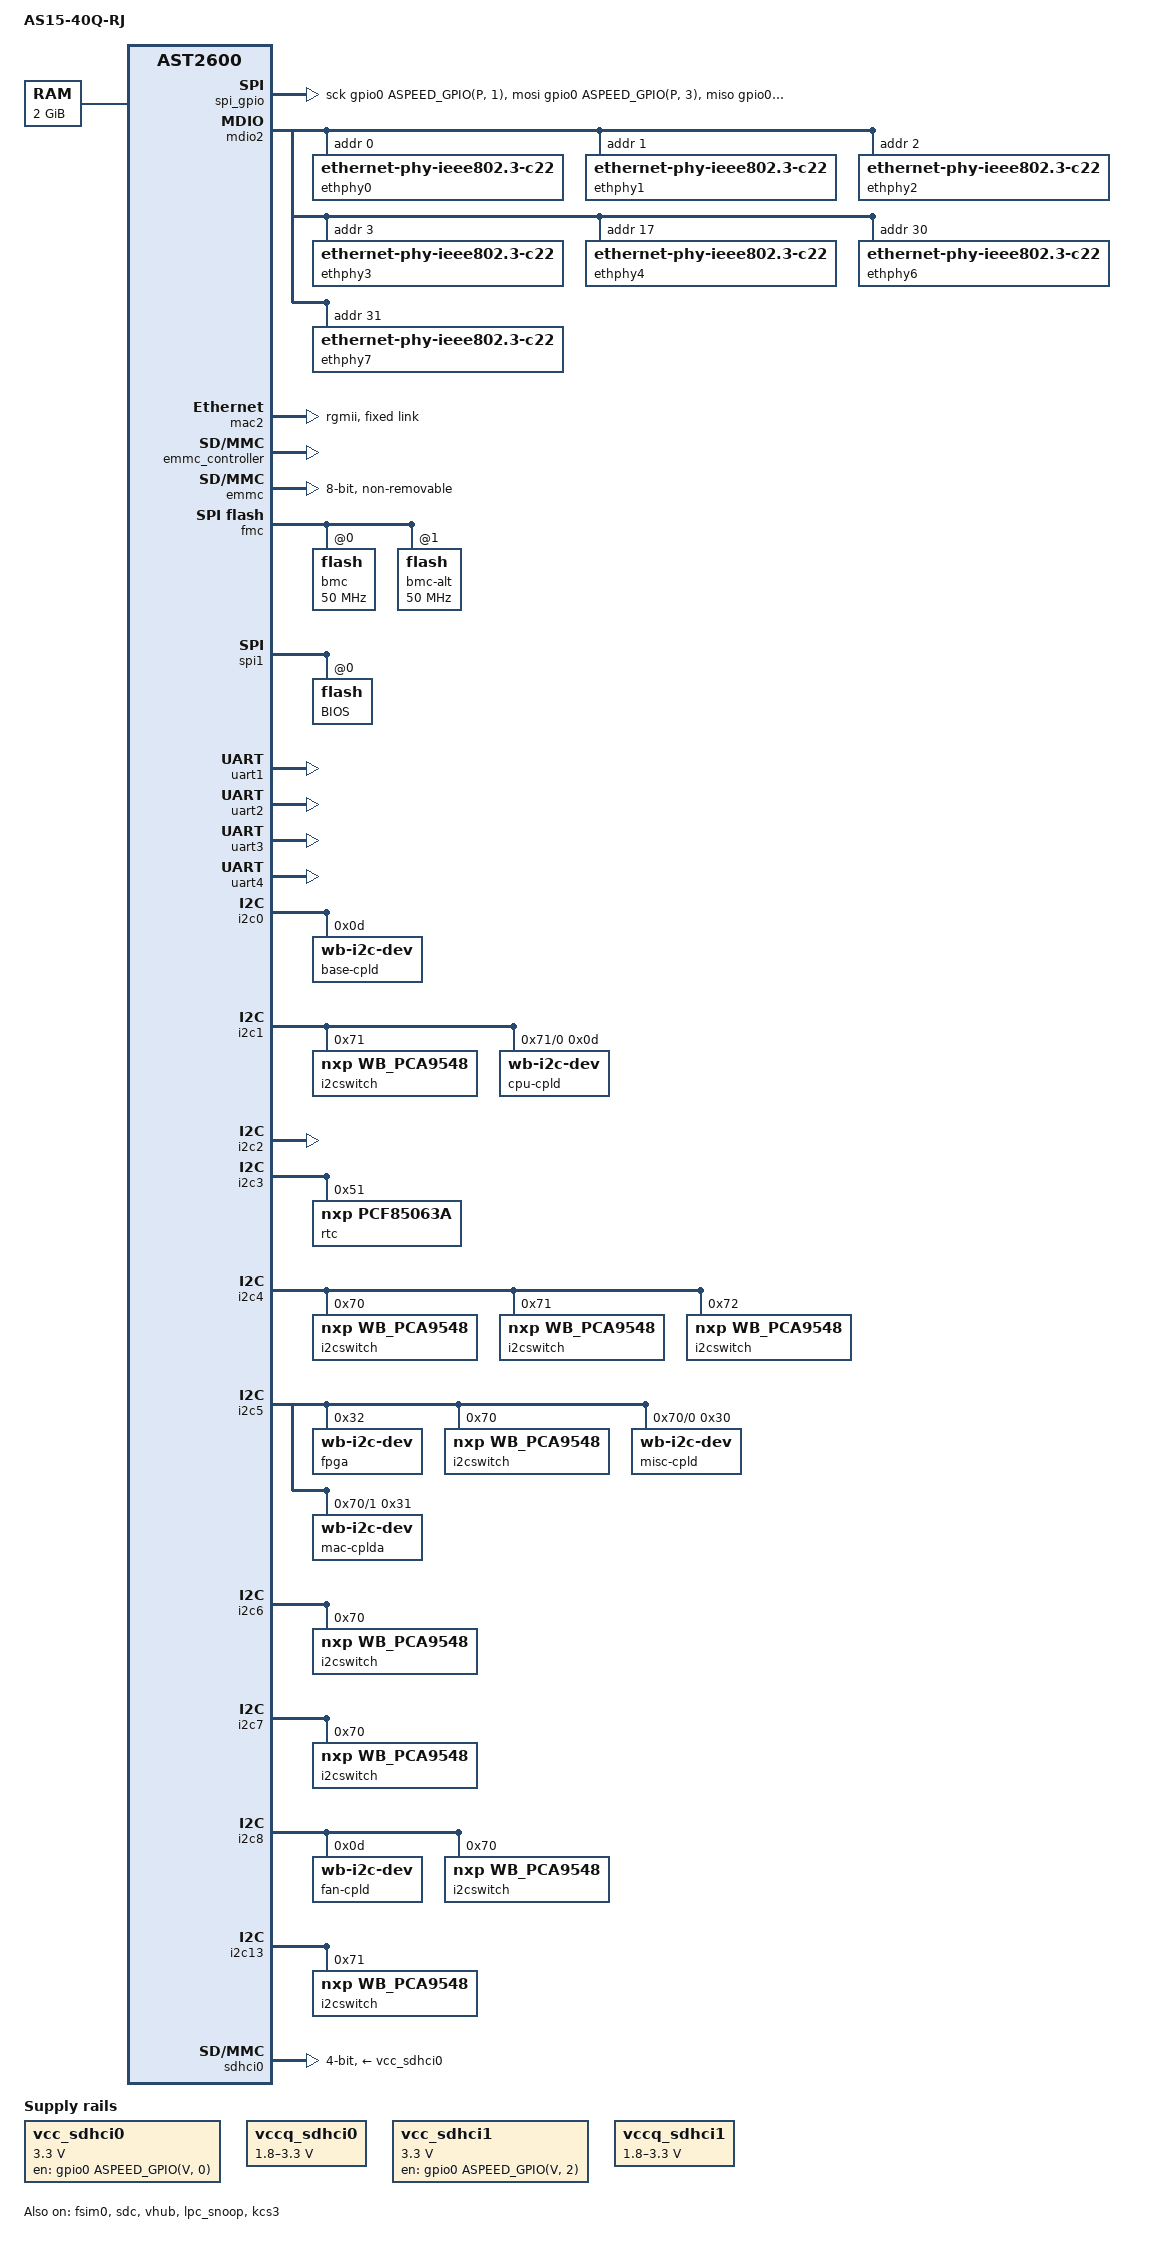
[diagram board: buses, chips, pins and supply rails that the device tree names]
// SPDX-License-Identifier: GPL-2.0-or-later
// Copyright 2019 IBM Corp.

/dts-v1/;

#include "aspeed-g6.dtsi"
#include <dt-bindings/gpio/aspeed-gpio.h>

/ {
    model = "AS15-40Q-RJ";
    compatible = "aspeed,ast2600";

    aliases {
        serial4 = &uart5;
    };

    chosen {
        bootargs = "console=ttyS4,9600n8";
    };

    memory@80000000 {
        device_type = "memory";
        reg = <0x80000000 0x80000000>;
    };

    vcc_sdhci0: regulator-vcc-sdhci0 {
        compatible = "regulator-fixed";
        regulator-name = "SDHCI0 Vcc";
        regulator-min-microvolt = <3300000>;
        regulator-max-microvolt = <3300000>;
        gpios = <&gpio0 ASPEED_GPIO(V, 0) GPIO_ACTIVE_HIGH>;
        enable-active-high;
    };

    vccq_sdhci0: regulator-vccq-sdhci0 {
        compatible = "regulator-gpio";
        regulator-name = "SDHCI0 VccQ";
        regulator-min-microvolt = <1800000>;
        regulator-max-microvolt = <3300000>;
        gpios = <&gpio0 ASPEED_GPIO(V, 1) GPIO_ACTIVE_HIGH>;
        gpios-states = <1>;
        states = <3300000 1>,<1800000 0>;
    };

    vcc_sdhci1: regulator-vcc-sdhci1 {
        compatible = "regulator-fixed";
        regulator-name = "SDHCI1 Vcc";
        regulator-min-microvolt = <3300000>;
        regulator-max-microvolt = <3300000>;
        gpios = <&gpio0 ASPEED_GPIO(V, 2) GPIO_ACTIVE_HIGH>;
        enable-active-high;
    };

    vccq_sdhci1: regulator-vccq-sdhci1 {
        compatible = "regulator-gpio";
        regulator-name = "SDHCI1 VccQ";
        regulator-min-microvolt = <1800000>;
        regulator-max-microvolt = <3300000>;
        gpios = <&gpio0 ASPEED_GPIO(V, 3) GPIO_ACTIVE_HIGH>;
        gpios-states = <1>;
        states = <3300000 1>,<1800000 0>;
    };

    peci: peci@1e78b000 {
        compatible = "aspeed,ast2600-peci";
        reg = <0x1e78b000 0x100>;
        interrupts = <GIC_SPI 38 IRQ_TYPE_LEVEL_HIGH>;
    };

    spi_gpio {
        compatible = "spi-gpio";
        status = "okay";
        #address-cells = <1>;
        #size-cells = <0>;
        num-chipselects = <2>;

        gpio-sck = <&gpio0 ASPEED_GPIO(P, 1) 0>;
        gpio-mosi = <&gpio0 ASPEED_GPIO(P, 3) 0>;
        gpio-miso = <&gpio0 ASPEED_GPIO(P, 2) 0>;
        cs-gpios = <
            &gpio0 ASPEED_GPIO(P, 4) 0
            &gpio0 ASPEED_GPIO(Q, 7) 1
        >;

    };

    /* CPU_CPLD */
    firmware_cpld0 {
        compatible  = "firmware_cpld_ispvme";
        type        = "JTAG";
        tck      = <882>;
        tdi      = <881>;
        tms      = <883>;
        tdo      = <884>;
        en_gpio_0  = <885>;
        en_level_0 = <1>;
        en_logic_dev_0 = "/dev/cpld1";
        en_logic_addr_0 = <0xf3>;
        en_logic_mask_0 = <0x00>;
        en_logic_en_val_0 = <0xfe>;
        en_logic_dis_val_0 = <0xff>;
        en_logic_width_0 = <1>;
        chain       = <1>;
        chip_index  = <1>;
    };

    /* BASE_CPLD */
    firmware_cpld1 {
        compatible  = "firmware_cpld_ispvme";
        type        = "JTAG";
        tck      = <882>;
        tdi      = <881>;
        tms      = <883>;
        tdo      = <884>;
        en_gpio_0  = <886>;
        en_level_0 = <1>;
        en_gpio_1  = <885>;
        en_level_1 = <1>;
        chain       = <2>;
        chip_index  = <1>;
    };

    /* MAC CPLDA */
    firmware_cpld2 {
        compatible  = "firmware_cpld_ispvme";
        type        = "JTAG";
        tck      = <882>;
        tdi      = <881>;
        tms      = <883>;
        tdo      = <884>;
        en_gpio_0  = <885>;
        en_level_0 = <1>;
        en_logic_dev_0 = "/dev/cpld1";
        en_logic_addr_0 = <0xf3>;
        en_logic_mask_0 = <0x00>;
        en_logic_en_val_0 = <0xeb>;
        en_logic_dis_val_0 = <0xff>;
        en_logic_width_0 = <1>;
        chain       = <3>;
        chip_index  = <1>;
    };

    /* FCB CPLD */
    firmware_cpld3 {
        compatible  = "firmware_cpld_ispvme";
        type        = "JTAG";
        tck      = <882>;
        tdi      = <881>;
        tms      = <883>;
        tdo      = <884>;
        en_gpio_0  = <885>;
        en_level_0 = <1>;
        en_logic_dev_0 = "/dev/cpld1";
        en_logic_addr_0 = <0xf3>;
        en_logic_mask_0 = <0x00>;
        en_logic_en_val_0 = <0xfd>;
        en_logic_dis_val_0 = <0xff>;
        en_logic_width_0 = <1>;
        chain       = <4>;
        chip_index  = <1>;
    };

    /* MISC CPLD */
    firmware_cpld4 {
        compatible  = "firmware_cpld_ispvme";
        type        = "JTAG";
        tck      = <882>;
        tdi      = <881>;
        tms      = <883>;
        tdo      = <884>;
        en_gpio_0  = <885>;
        en_level_0 = <1>;
        en_logic_dev_0 = "/dev/cpld1";
        en_logic_addr_0 = <0xf3>;
        en_logic_mask_0 = <0x00>;
        en_logic_en_val_0 = <0xfb>;
        en_logic_dis_val_0 = <0xff>;
        en_logic_width_0 = <1>;
        chain       = <5>;
        chip_index  = <1>;
    };

    /* 53134 Upgrading a link */
    firmware_bcm53134 {
        compatible  = "firmware_sysfs";
        type        = "SYSFS";
        chain       = <1>;
        chip_index  = <1>;
        sysfs_name  = "/sys/bus/spi/devices/spi0.0/eeprom";
        en_gpio_0   = <941>;    /* GPION5 Enable online upgrade of BCM53134O */
        en_level_0  = <0>;
    };
    
    /* FPGA Upgrading a link */
    firmware_fpga0_up {
        compatible  = "firmware_sysfs";
        type        = "MTD_DEV";
        chain       = <2>;
        chip_index  = <1>;
        mtd_name    = "spi0.1";
        flash_base  = <0x200000>;
        test_base   = <0x7F0000>;
        test_size   = <0x10000>;
    };
    
    /* FPGA Upgrade the link chip */
    firmware_fpga0_shaopian {
        compatible  = "firmware_sysfs";
        type        = "MTD_DEV";
        chain       = <3>;
        chip_index  = <1>;
        mtd_name    = "spi0.1";
        flash_base  = <0x0>;
        test_base   = <0x7F0000>;
        test_size   = <0x10000>;
    };

    /* BIOS Upgrading a link */
    firmware_bios {
        compatible  = "firmware_sysfs";
        type        = "MTD_DEV";
        chain       = <4>;
        chip_index  = <1>;
        mtd_name    = "BIOS";
        flash_base  = <0x0>;
    };

    /* MAC flash Upgrading a link */
    firmware_mac {
        compatible  = "firmware_sysfs";
        type        = "MTD_DEV";
        chain       = <5>;
        chip_index  = <1>;
        mtd_name    = "spi0.1";
        flash_base  = <0>;
    };


    wb_mmc_resume@0 {
        compatible = "dev_resume_drv";
        dev_type   = <1>;                             /* 1: MMC; 2: SSD */
        slot_id    = <0>;                             /* emmc controller0 */
        bit_mask   = <0x01>;
        reg_intf_name   = "mmc_resume_register";
        unreg_intf_name = "mmc_resume_unregister";

        resume_way0 {
            resume_way    = <3>;                     /* way3 DEV_RESUME_WAY2_CTL_GPIO */
            gpio_num      = <986>;
            active_level  = <0>;
            reset_delay   = <80000>;
            dereset_delay = <5000>;
        };
    };


};

&mdio0 {
    status = "disabled";
};

&mdio1 {
    status = "disabled";
};

&mdio2 {
    status = "okay";

    ethphy0: ethernet-phy@0 {
        compatible = "ethernet-phy-ieee802.3-c22";
        reg = <0>;
    };
    ethphy1: ethernet-phy@1 {
        compatible = "ethernet-phy-ieee802.3-c22";
        reg = <1>;
    };
    ethphy2: ethernet-phy@2 {
        compatible = "ethernet-phy-ieee802.3-c22";
        reg = <2>;
    };
    ethphy3: ethernet-phy@3 {
        compatible = "ethernet-phy-ieee802.3-c22";
        reg = <3>;
    };
    ethphy4: ethernet-phy@4 {
        compatible = "ethernet-phy-ieee802.3-c22";
        reg = <0x11>;
    };
    ethphy6: ethernet-phy@6 {
        compatible = "ethernet-phy-ieee802.3-c22";
        reg = <0x1e>;
    };
    ethphy7: ethernet-phy@7 {
        compatible = "ethernet-phy-ieee802.3-c22";
        reg = <0x1f>;
    };
};

&mdio3 {
    status = "disabled";
};

&mac0 {
    status = "disabled";
};

&mac1 {
    status = "disabled";
};

&mac2 {
    status = "okay";
    pinctrl-names = "default";
    pinctrl-0 = <&pinctrl_rgmii3_default>;
    phy-handle;
    phy-mode = "rgmii";
    fixed-link {
        speed = <1000>;
        full-duplex;
    };
};

&mac3 {
    status = "disabled";
};

&emmc_controller {
    status = "okay";
};

&emmc {
	bus-width = <8>;
	pinctrl-0 = <&pinctrl_emmcg8_default>;
 	non-removable;
	no-sd;
	no-sdio;
 	max-frequency = <50000000>;
	clk-phase-mmc-hs200 = <0 27>, <1 185>;
	cap-mmc-hw-reset;
    reset_gpio = <794>; /* reset emmc gpio GPIOB6*/
	reset_on = <0>;
	reset_off = <1>;
    status = "okay";
 };

&fmc {
    status = "okay";
    flash@0 {
    status = "okay";
        m25p,fast-read;
        label = "bmc";
        spi-max-frequency = <50000000>;
#include "facebook-bmc-g6-flash-layout-64.dtsi"
    };
    flash@1 {
        status = "okay";
        m25p,fast-read;
        label = "bmc-alt";
        spi-max-frequency = <50000000>;
#include "facebook-bmc-g6-alt-flash-layout-64.dtsi"
    };
};

&spi1 {
    status = "okay";
    fmc-spi-user-mode;
    pinctrl-names = "default";
    pinctrl-0 = <&pinctrl_spi1_default>;

    flash@0 {
        status = "okay";
        label = "BIOS";
        m25p,fast-read;
    };
};


&uart1 {
    status = "okay";
};

&uart2 {
    status = "okay";
};

&uart3 {
    status = "okay";
};

&uart4 {
    status = "okay";
};

&uart5 {
	// Workaround for A0
	compatible = "snps,dw-apb-uart";
};

&i2c0 {
    status = "okay";
    bus-frequency = <90000>;
    base-cpld@0d {
        compatible = "wb-i2c-dev";
        reg = <0x0d>;
        i2c_name = "cpld1";
        data_bus_width = <1>;
        addr_bus_width = <1>;
        per_rd_len = <256>;
        per_wr_len = <256>;
        i2c_len = <0x100>;
    };
};

&i2c1 {
    status = "okay";
    i2cswitch@71 {
        compatible = "nxp,wb_pca9548";
        reg = <0x71>;
        probe_disable;
        pca9548_base_nr = <16>;
        status = "okay";
        pca9548_reset_type  = <1>;      /* 1:I2C 2:GPIO 3:IO 4:FILE */
        rst_delay_b = <0>;              /* delay time before reset(us) */
        rst_delay   = <1000>;           /* reset time(us) */
        rst_delay_a = <1000>;           /* delay time after reset(us) */
        i2c_bus = <0>;
        i2c_addr = <0x0d>;
        reg_offset = <0x31>;
        mask = <0x04>;
        reset_on = <0x00>;
        reset_off = <0x04>;
        i2c@0 {
            reg = <0>;
            cpu-cpld@0d {
                compatible = "wb-i2c-dev";
                reg = <0x0d>;
                i2c_name = "cpld0";
                data_bus_width = <1>;
                addr_bus_width = <1>;
                per_rd_len = <256>;
                per_wr_len = <256>;
                i2c_len = <0x100>;
            };
        };
    };
};

&i2c2 {
    status = "okay";
};

&i2c3 {
    status = "okay";
    rtc@51 {
        compatible = "nxp,pcf85063a";
        reg = <0x51>;
        status = "okay";
        cap-mode = /bits/ 8 <0x00>;
        clock-freq = /bits/ 8 <0x07>;
        accuracy-value = /bits/ 8 <0x09>;
    };
};

&i2c4 {
    status = "okay";
    i2cswitch@70 {
        compatible = "nxp,wb_pca9548";
        reg = <0x70>;
        probe_disable;
        pca9548_base_nr = <24>;
        status = "okay";
        pca9548_reset_type  = <1>;      /* 1:I2C 2:GPIO 3:IO 4:FILE */
        rst_delay_b = <0>;              /* delay time before reset(us) */
        rst_delay   = <1000>;           /* reset time(us) */
        rst_delay_a = <1000>;           /* delay time after reset(us) */
        i2c_bus = <0>;
        i2c_addr = <0x0d>;
        reg_offset = <0x31>;
        mask = <0x01>;
        reset_on = <0x00>;
        reset_off = <0x01>;
    };
    i2cswitch@71 {
        compatible = "nxp,wb_pca9548";
        reg = <0x71>;
        probe_disable;
        pca9548_base_nr = <32>;
        status = "okay";
        pca9548_reset_type  = <1>;      /* 1:I2C 2:GPIO 3:IO 4:FILE */
        rst_delay_b = <0>;              /* delay time before reset(us) */
        rst_delay   = <1000>;           /* reset time(us) */
        rst_delay_a = <1000>;           /* delay time after reset(us) */
        i2c_bus = <0>;
        i2c_addr = <0x0d>;
        reg_offset = <0x31>;
        mask = <0x10>;
        reset_on = <0x00>;
        reset_off = <0x10>;
    };
    i2cswitch@72 {
        compatible = "nxp,wb_pca9548";
        reg = <0x72>;
        probe_disable;
        pca9548_base_nr = <40>;
        status = "okay";
        pca9548_reset_type  = <1>;      /* 1:I2C 2:GPIO 3:IO 4:FILE */
        rst_delay_b = <0>;              /* delay time before reset(us) */
        rst_delay   = <1000>;           /* reset time(us) */
        rst_delay_a = <1000>;           /* delay time after reset(us) */
        i2c_bus = <0>;
        i2c_addr = <0x0d>;
        reg_offset = <0x31>;
        mask = <0x10>;
        reset_on = <0x00>;
        reset_off = <0x10>;
    };
};

&i2c5 {
    status = "okay";
    fpga@32 {
        compatible = "wb-i2c-dev";
        reg = <0x32>;
        i2c_name = "fpga0";
        data_bus_width = <1>;
        addr_bus_width = <1>;
        per_rd_len = <1>;
        per_wr_len = <1>;
        i2c_len = <0x100>;
    };
    i2cswitch@70 {
        compatible = "nxp,wb_pca9548";
        reg = <0x70>;
        probe_disable;
        pca9548_base_nr = <48>;
        status = "okay";
        pca9548_reset_type  = <1>;      /* 1:I2C 2:GPIO 3:IO 4:FILE */
        rst_delay_b = <0>;              /* delay time before reset(us) */
        rst_delay   = <1000>;           /* reset time(us) */
        rst_delay_a = <1000>;           /* delay time after reset(us) */
        i2c_bus = <0>;
        i2c_addr = <0x0d>;
        reg_offset = <0x31>;
        mask = <0x20>;
        reset_on = <0x00>;
        reset_off = <0x20>;
        i2c@0 {
            reg = <0>;
            misc-cpld@30 {
                compatible = "wb-i2c-dev";
                reg = <0x30>;
                i2c_name = "cpld3";
                data_bus_width = <1>;
                addr_bus_width = <1>;
                per_rd_len = <256>;
                per_wr_len = <256>;
                i2c_len = <0x100>;
            };
        };
        i2c@1 {
            reg = <1>;
            mac-cplda@31 {
                compatible = "wb-i2c-dev";
                reg = <0x31>;
                i2c_name = "cpld2";
                data_bus_width = <1>;
                addr_bus_width = <1>;
                per_rd_len = <1>;
                per_wr_len = <1>;
                i2c_len = <0x100>;
            };
        };
    };
};

&i2c6 {
    status = "okay";
    i2cswitch@70 {
        compatible = "nxp,wb_pca9548";
        reg = <0x70>;
        probe_disable;
        pca9548_base_nr = <56>;
        status = "okay";
        pca9548_reset_type  = <1>;      /* 1:I2C 2:GPIO 3:IO 4:FILE */
        rst_delay_b = <0>;              /* delay time before reset(us) */
        rst_delay   = <1000>;           /* reset time(us) */
        rst_delay_a = <1000>;           /* delay time after reset(us) */
        i2c_bus = <0>;
        i2c_addr = <0x0d>;
        reg_offset = <0x30>;
        mask = <0x01>;
        reset_on = <0x00>;
        reset_off = <0x01>;
    };
};

&i2c7 {
    status = "okay";
    i2cswitch@70 {
        compatible = "nxp,wb_pca9548";
        reg = <0x70>;
        probe_disable;
        pca9548_base_nr = <64>;
        status = "okay";
        pca9548_reset_type  = <1>;      /* 1:I2C 2:GPIO 3:IO 4:FILE */
        rst_delay_b = <0>;              /* delay time before reset(us) */
        rst_delay   = <1000>;           /* reset time(us) */
        rst_delay_a = <1000>;           /* delay time after reset(us) */
        i2c_bus = <0>;
        i2c_addr = <0x0d>;
        reg_offset = <0x31>;
        mask = <0x40>;
        reset_on = <0x00>;
        reset_off = <0x40>;
    };
};

&i2c8 {
    status = "okay";
    fan-cpld@0d {
        compatible = "wb-i2c-dev";
        reg = <0x0d>;
        i2c_name = "cpld4";
        data_bus_width = <1>;
        addr_bus_width = <1>;
        per_rd_len = <256>;
        per_wr_len = <256>;
        i2c_len = <0x100>;
    };
    i2cswitch@70 {
        compatible = "nxp,wb_pca9548";
        reg = <0x70>;
        probe_disable;
        pca9548_base_nr = <72>;
        status = "okay";
        pca9548_reset_type  = <1>;      /* 1:I2C 2:GPIO 3:IO 4:FILE */
        rst_delay_b = <0>;              /* delay time before reset(us) */
        rst_delay   = <1000>;           /* reset time(us) */
        rst_delay_a = <1000>;           /* delay time after reset(us) */
        i2c_bus = <0>;
        i2c_addr = <0x0d>;
        reg_offset = <0x30>;
        mask = <0x02>;
        reset_on = <0x00>;
        reset_off = <0x02>;
    };
};

&i2c13 {
    status = "okay";
    i2cswitch@71 {
        compatible = "nxp,wb_pca9548";
        reg = <0x71>;
        probe_disable;
        pca9548_base_nr = <80>;
        status = "okay";
        pca9548_reset_type  = <1>;      /* 1:I2C 2:GPIO 3:IO 4:FILE */
        rst_delay_b = <0>;              /* delay time before reset(us) */
        rst_delay   = <1000>;           /* reset time(us) */
        rst_delay_a = <1000>;           /* delay time after reset(us) */
        i2c_bus = <0>;
        i2c_addr = <0x0d>;
        reg_offset = <0x31>;
        mask = <0x02>;
        reset_on = <0x00>;
        reset_off = <0x02>;
    };
};

&fsim0 {
    status = "okay";
};

&uhci {
    status = "disabled";
};

&sdc {
    status = "okay";
};

&edac {
    status = "disabled";
};

/*
 * The signal voltage of sdhci0 and sdhci1 on AST2600-A2 EVB is able to be
 * toggled by GPIO pins.
 * In the reference design, GPIOV0 of AST2600-A2 EVB is connected to the
 * power load switch that provides 3.3v to sdhci0 vdd, GPIOV1 is connected to
 * a 1.8v and a 3.3v power load switch that provides signal voltage to
 * sdhci0 bus.
 * If GPIOV0 is active high, sdhci0 is enabled, otherwise, sdhci0 is disabled.
 * If GPIOV1 is active high, 3.3v power load switch is enabled, sdhci0 signal
 * voltage is 3.3v, otherwise, 1.8v power load switch will be enabled,
 * sdhci0 signal voltage becomes 1.8v.
 * AST2600-A2 EVB also supports toggling signal voltage for sdhci1.
 * The design is the same as sdhci0, it uses GPIOV2 as power-gpio and GPIOV3
 * as power-switch-gpio.
 */
&sdhci0 {
    status = "okay";
    bus-width = <4>;
    max-frequency = <100000000>;
    sdhci-drive-type = /bits/ 8 <3>;
    sdhci-caps-mask = <0x7 0x0>;
    sdhci,wp-inverted;
    vmmc-supply = <&vcc_sdhci0>;
    vqmmc-supply = <&vccq_sdhci0>;
    clk-phase-sd-hs = <7>, <200>;
};

&sdhci1 {
    status = "disabled";
    bus-width = <4>;
    max-frequency = <100000000>;
    sdhci-drive-type = /bits/ 8 <3>;
    sdhci-caps-mask = <0x7 0x0>;
    sdhci,wp-inverted;
    vmmc-supply = <&vcc_sdhci1>;
    vqmmc-supply = <&vccq_sdhci1>;
    clk-phase-sd-hs = <7>, <200>;
};

&ehci0 {
    status = "disabled";
};

&ehci1 {
    status = "disabled";
};

&vhub {
    status = "okay";
};

&lpc_snoop {
    status = "okay";
    snoop-ports = <0x80 0x81>;
};

&kcs3 {
    status = "okay";
    kcs-io-addr = <0xca2>;
    kcs-channel = <3>;
};
